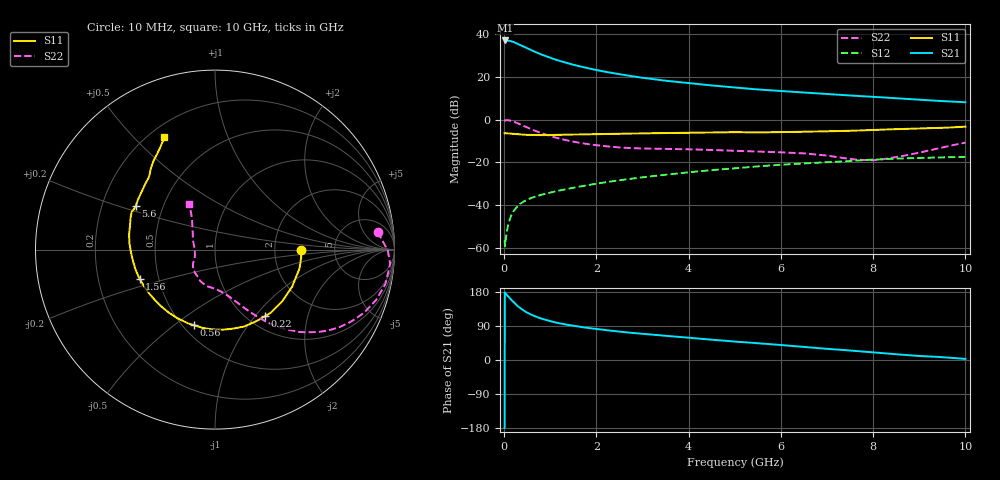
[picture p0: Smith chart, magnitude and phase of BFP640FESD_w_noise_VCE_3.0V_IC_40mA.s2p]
! Infineon Technologies  Discrete & RF Semiconductors
! BFP640FESD
! VCE =  3.0 V,  IC =  40 mA
! Common Emitter S-Parameters:  Jan 2016
# GHz  S  MA  R  50
!  f  S11  S21  S12  S22
! GHz  MAG  ANG  MAG  ANG  MAG  ANG  MAG  ANG
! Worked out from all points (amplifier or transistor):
!   233 points, 10 MHz to 10 GHz, reference 50 ohm
!   highest |S21| = 37.0 dB at 20 MHz (marker M1)
!   |S21| within 3 dB of that: start of sweep to 437 MHz
!   unconditionally stable (mu >= 1): 2.734 GHz to end of sweep
!   at 200 MHz: K = 0.19, MSG = 39.7 dB, |S12| = -43.0 dB
!   at 1.74 GHz: K = 0.90, MSG = 27.7 dB, |S12| = -30.9 dB
!   at 10 GHz: K = 1.06, MAG = 11.3 dB, |S12| = -17.4 dB
!   lowest NFmin = 1.24 dB at 450 MHz
!   S11 on the Smith chart (normalised r, x): 10 MHz: 2.84, -0.03; 220 MHz: 1.20, -1.13; 560 MHz: 0.57, -0.59; 1.56 GHz: 0.39, -0.16; 5.6 GHz: 0.35, +0.23; 10 GHz: 0.26, +0.61
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0.01  0.4787 -0.5  71 -179.6  0.0015 111.5  0.9125 6.2
0.02  0.4824 -5.0  71.07 177.2  0.0011 101.5  0.9631 -0.4
0.1  0.4769 -25.6  70.33 166.4  0.0039 80.7  0.9691 -11.3
0.15  0.4727 -37.8  68.31 159.3  0.0056 76.7  0.9404 -17.4
0.22  0.464 -52.9  64.22 150.6  0.0076 71.8  0.8857 -24.7
0.3  0.4582 -69.0  59.14 141.6  0.0096 67.6  0.8172 -31.9
0.36  0.4504 -79.2  55.16 136.0  0.011 65.0  0.7652 -36.3
0.45  0.4445 -92.6  49.54 128.5  0.0126 62.1  0.6921 -41.8
0.56  0.4371 -105.8  43.56 121.4  0.0143 60.1  0.6143 -46.9
0.6  0.4376 -110.2  41.58 118.7  0.0149 59.5  0.5882 -48.7
0.7  0.4358 -119.5  37.27 113.7  0.0162 58.8  0.533 -52.2
0.9  0.4359 -133.4  30.55 105.7  0.0186 58.4  0.4477 -57.4
1.2  0.4416 -147.9  23.71 96.8  0.022 59.3  0.3606 -63.6
1.56  0.4504 -158.9  18.52 89.2  0.0263 60.6  0.2969 -69.9
1.68  0.4527 -162.1  17.23 87.0  0.0277 60.9  0.2819 -71.9
2.4  0.4645 -175.5  12.03 76.2  0.037 61.8  0.2282 -84.8
3.4  0.484 171.1  8.41 65.0  0.0502 60.4  0.2088 -101.5
5.1  0.5083 155.0  5.512 47.8  0.0742 54.5  0.1853 -120.1
5.6  0.5041 151.0  4.992 43.4  0.0823 52.5  0.1783 -123.3
6.8  0.5292 138.3  4.104 31.6  0.0982 45.3  0.1514 -143.9
8.4  0.5948 125.7  3.213 16.1  0.1215 35.9  0.1279 160.8
10  0.6854 114.3  2.552 2.9  0.1345 25.2  0.2914 119.4
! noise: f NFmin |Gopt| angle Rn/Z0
0.45  1.24  0.27  -171  0.08
2.4  1.28  0.28  -151  0.11
5.5  1.51  0.34  -146  0.12
10  2.04  0.48  -101  0.38
